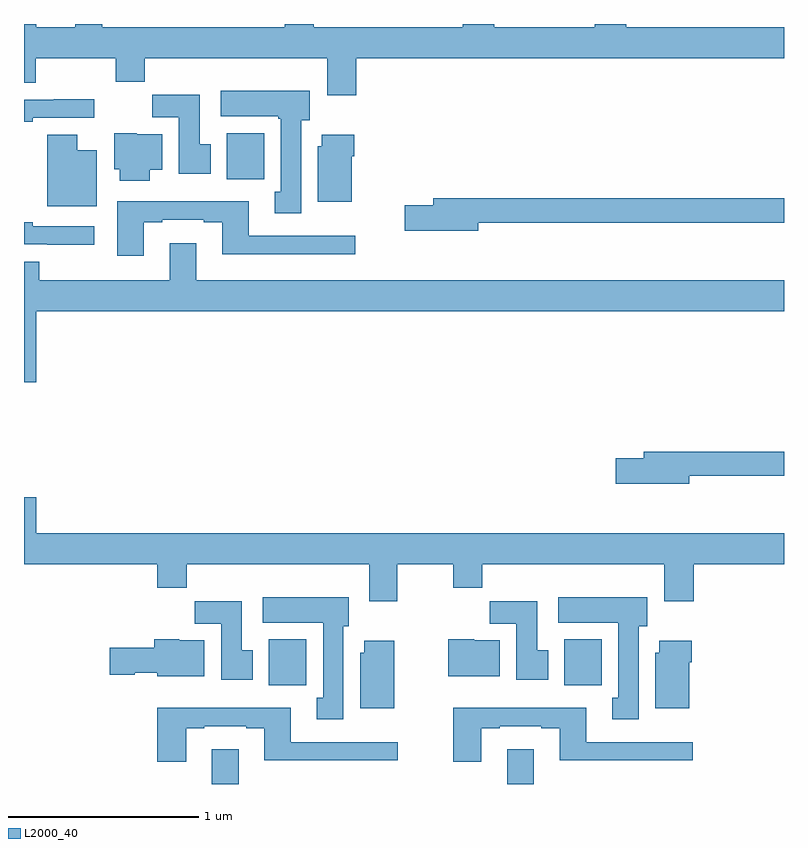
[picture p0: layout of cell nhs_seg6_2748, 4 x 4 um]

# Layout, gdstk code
import gdstk
lib = gdstk.Library(unit=1e-6, precision=1e-09)
def R(c, l, rs):  # rectangles x0, y0, x1, y1
    for r in rs: c.add(gdstk.rectangle(r[:2], r[2:], *l))
def P(c, l, *ps):  # polygons
    for p in ps: c.add(gdstk.Polygon(p, *l))
L2000_40 = (2000, 40)

nhs_seg6_2748 = lib.new_cell('nhs_seg6_2748')
R(nhs_seg6_2748, L2000_40, [(273.989,959.5,274.129,959.683), (275.543,959.5,275.683,959.683), (274.289,960.02,274.486,960.262), (275.843,960.02,276.04,960.262), (274.067,962.684,274.264,962.926)])
P(nhs_seg6_2748, L2000_40, [(274.748,963.32),(277,963.32),(277,963.484),(276.17,963.484),(276.17,963.5),(276.005,963.5),(276.005,963.484),(275.474,963.484),(275.474,963.5),(275.309,963.5),(275.309,963.484),(274.526,963.484),(274.526,963.5),(274.373,963.5),(274.373,963.484),(273.413,963.484),(273.413,963.5),(273.269,963.5),(273.269,963.484),(273.064,963.484),(273.064,963.5),(273,963.5),(273,963.192),(273.061,963.192),(273.061,963.32),(273.484,963.32),(273.484,963.196),(273.635,963.196),(273.635,963.32),(274.595,963.32),(274.595,963.126),(274.748,963.126)],
  [(274.459,962.994),(274.504,962.994),(274.504,963.148),(274.035,963.148),(274.035,963.014),(274.339,963.014),(274.339,963.001),(274.352,963.001),(274.352,962.618),(274.319,962.618),(274.319,962.505),(274.459,962.505)],
  [(273.982,962.868),(273.925,962.868),(273.925,963.127),(273.676,963.127),(273.676,963.008),(273.815,963.008),(273.815,962.712),(273.982,962.712)],
  [(273.046,963.006),(273.37,963.006),(273.37,963.104),(273.157,963.104),(273.157,963.102),(273,963.102),(273,962.986),(273.046,962.986)],
  [(273.661,962.732),(273.727,962.732),(273.727,962.92),(273.594,962.92),(273.594,962.926),(273.476,962.926),(273.476,962.736),(273.503,962.736),(273.503,962.675),(273.661,962.675)],
  [(274.726,962.804),(274.739,962.804),(274.739,962.917),(274.568,962.917),(274.568,962.856),(274.547,962.856),(274.547,962.564),(274.726,962.564)],
  [(273.382,962.836),(273.28,962.836),(273.28,962.917),(273.122,962.917),(273.122,962.54),(273.382,962.54)],
  [(275.392,962.454),(277,962.454),(277,962.582),(275.153,962.582),(275.153,962.546),(275.004,962.546),(275.004,962.411),(275.392,962.411)],
  [(273.631,962.457),(273.727,962.457),(273.727,962.469),(273.947,962.469),(273.947,962.457),(274.043,962.457),(274.043,962.288),(274.744,962.288),(274.744,962.385),(274.183,962.385),(274.183,962.566),(273.491,962.566),(273.491,962.28),(273.631,962.28)],
  [(273.37,962.436),(273.046,962.436),(273.046,962.456),(273,962.456),(273,962.34),(273.123,962.34),(273.123,962.339),(273.37,962.339)],
  [(273.064,961.988),(277,961.988),(277,962.152),(273.907,962.152),(273.907,962.347),(273.767,962.347),(273.767,962.152),(273.08,962.152),(273.08,962.25),(273,962.25),(273,961.614),(273.064,961.614)],
  [(276.502,961.122),(277,961.122),(277,961.25),(276.263,961.25),(276.263,961.214),(276.114,961.214),(276.114,961.079),(276.502,961.079)],
  [(274.965,960.656),(275.26,960.656),(275.26,960.532),(275.411,960.532),(275.411,960.656),(276.371,960.656),(276.371,960.462),(276.524,960.462),(276.524,960.656),(277,960.656),(277,960.82),(273.064,960.82),(273.064,961.009),(273,961.009),(273,960.656),(273.701,960.656),(273.701,960.532),(273.857,960.532),(273.857,960.656),(274.817,960.656),(274.817,960.462),(274.965,960.462)],
  [(276.235,960.33),(276.28,960.33),(276.28,960.484),(275.811,960.484),(275.811,960.35),(276.128,960.35),(276.128,959.954),(276.095,959.954),(276.095,959.841),(276.235,959.841)],
  [(274.681,960.33),(274.708,960.33),(274.708,960.484),(274.257,960.484),(274.257,960.35),(274.574,960.35),(274.574,959.954),(274.541,959.954),(274.541,959.841),(274.681,959.841)],
  [(274.204,960.204),(274.147,960.204),(274.147,960.463),(273.898,960.463),(273.898,960.344),(274.037,960.344),(274.037,960.048),(274.204,960.048)],
  [(275.758,960.204),(275.701,960.204),(275.701,960.463),(275.452,960.463),(275.452,960.344),(275.591,960.344),(275.591,960.048),(275.758,960.048)],
  [(273.949,960.256),(273.816,960.256),(273.816,960.262),(273.686,960.262),(273.686,960.216),(273.45,960.216),(273.45,960.074),(273.582,960.074),(273.582,960.086),(273.702,960.086),(273.702,960.068),(273.949,960.068)],
  [(275.503,960.256),(275.37,960.256),(275.37,960.262),(275.234,960.262),(275.234,960.068),(275.503,960.068)],
  [(276.502,960.14),(276.515,960.14),(276.515,960.253),(276.344,960.253),(276.344,960.192),(276.323,960.192),(276.323,959.9),(276.502,959.9)],
  [(274.948,960.253),(274.79,960.253),(274.79,960.192),(274.769,960.192),(274.769,959.9),(274.948,959.9)],
  [(275.407,959.793),(275.503,959.793),(275.503,959.805),(275.723,959.805),(275.723,959.793),(275.819,959.793),(275.819,959.624),(276.52,959.624),(276.52,959.721),(275.959,959.721),(275.959,959.902),(275.26,959.902),(275.26,959.616),(275.407,959.616)],
  [(273.853,959.793),(273.949,959.793),(273.949,959.805),(274.169,959.805),(274.169,959.793),(274.265,959.793),(274.265,959.624),(274.966,959.624),(274.966,959.721),(274.405,959.721),(274.405,959.902),(273.701,959.902),(273.701,959.616),(273.853,959.616)])

lib.write_gds('nhs_seg6_2748.gds')
